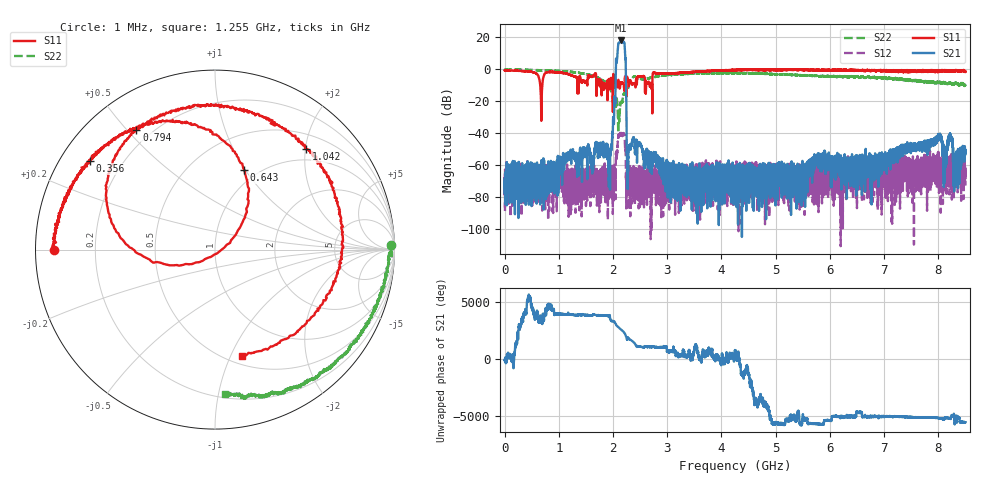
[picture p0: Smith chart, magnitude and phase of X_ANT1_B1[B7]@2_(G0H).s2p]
#  HZ  S  RI  R  50.00
! Rohde & Schwarz Vector Network Analyzer
! Rohde-Schwarz,ZNBT8-20Port,1318700624101681,3.50
! Created: UTC 7/15/2025, 2:12:31 PM
! freq[Hz]  re:S1010  im:S1010  re:S0510  im:S0510  re:S1005  im:S1005  re:S55  im:S55
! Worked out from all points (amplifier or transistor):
!   8500 points, 1 MHz to 8.5 GHz, reference 50 ohm
!   highest |S21| = 17.8 dB at 2.144 GHz (marker M1)
!   |S21| within 3 dB of that: 2.095 GHz to 2.215 GHz (120.2 MHz wide, 5.58 % of centre)
!   unconditionally stable (mu >= 1): start of sweep to end of sweep
!   at 1.417 GHz: K = 426843.75, MAG = -50.1 dB, |S12| = -72.7 dB
!   at 4.251 GHz: K = 187744.80, MAG = -59.4 dB, |S12| = -64.4 dB
!   at 8.5 GHz: K = 225484.19, MAG = -45.9 dB, |S12| = -72.7 dB
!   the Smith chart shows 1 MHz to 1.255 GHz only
!   S11 on the Smith chart (normalised r, x): 1 MHz: 0.05, -0.00; 356 MHz: 0.09, +0.32; 643 MHz: 0.86, +0.99; 794 MHz: 0.14, +0.53; 1.042 GHz: 0.77, +2.02; 1.255 GHz: 0.59, -1.11
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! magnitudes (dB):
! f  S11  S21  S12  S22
! 1 MHz  -0.9  -68.7  -75.3  -0.2
! 356 MHz  -1.4  -69.0  -64.6  -0.6
! 643 MHz  -6.5  -75.9  -65.2  -0.8
! 794 MHz  -2.0  -60.7  -63.9  -0.9
! 1.042 GHz  -2.4  -58.6  -68.8  -1.4
! 1.255 GHz  -4.3  -52.7  -62.3  -1.9
! 1.418 GHz  -8.2  -54.6  -73.7  -2.7
! 1.939 GHz  -10.6  -65.7  -73.2  -11.5
! 2.007 GHz  -3.2  -31.0  -69.3  -23.8
! 2.089 GHz  -8.8  12.4  -45.6  -26.8
! 2.144 GHz  -8.7  17.8  -40.3  -21.4
! 2.205 GHz  -12.0  16.5  -41.2  -15.7
! 2.293 GHz  -10.0  -48.5  -75.5  -10.3
! 2.834 GHz  -2.8  -56.1  -70.6  -4.5
! 4.251 GHz  -0.6  -71.6  -64.4  -2.6
! 5.667 GHz  -0.4  -59.6  -65.9  -4.3
! 7.084 GHz  -1.1  -53.6  -64.4  -5.6
! 8.016 GHz  -1.1  -40.8  -58.1  -8.2
! 8.12 GHz  -1.4  -69.3  -64.3  -8.4
! 8.227 GHz  -1.3  -43.2  -67.7  -8.9
! 8.325 GHz  -1.3  -58.1  -62.2  -8.5
! 8.5 GHz  -1.6  -51.4  -72.7  -10.0
